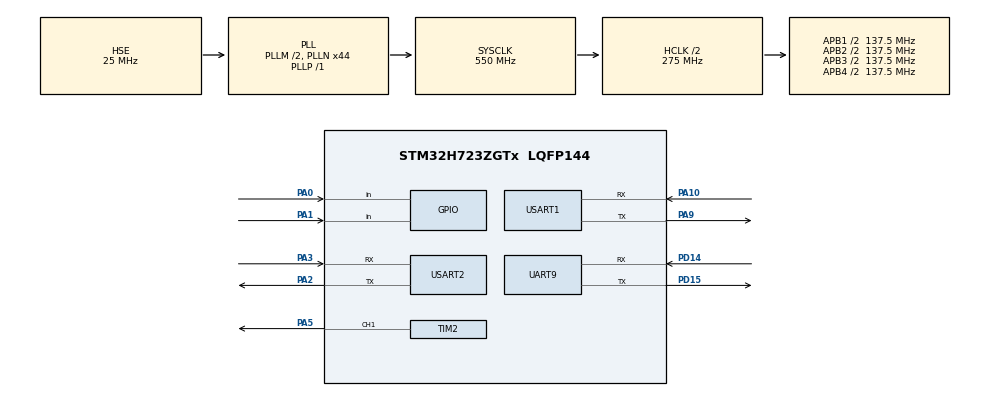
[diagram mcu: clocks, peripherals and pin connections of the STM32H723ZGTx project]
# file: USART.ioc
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CORTEX_M7.default_mode_Activation=1
Mcu.Family=STM32H7
Mcu.Name=STM32H723ZGTx
Mcu.Package=LQFP144
NVIC.PriorityGroup=NVIC_PRIORITYGROUP_4
NVIC.UART9_IRQn=true\:0\:0\:false\:false\:true\:false\:true\:true
NVIC.USART1_IRQn=true\:0\:0\:false\:false\:true\:true\:true\:true
NVIC.USART2_IRQn=true\:0\:0\:false\:false\:true\:true\:true\:true
PA0.GPIO_Mode=GPIO_MODE_INPUT
PA0.GPIO_PuPd=GPIO_PULLUP
PA0.Signal=GPIO_Input
PA1.GPIO_PuPd=GPIO_PULLUP
PA1.Signal=GPIO_Input
PA10.GPIO_Speed=GPIO_SPEED_FREQ_VERY_HIGH
PA10.Mode=Asynchronous
PA10.Signal=USART1_RX
PA2.GPIO_PuPd=GPIO_NOPULL
PA2.GPIO_Speed=GPIO_SPEED_FREQ_VERY_HIGH
PA2.Mode=Asynchronous
PA2.Signal=USART2_TX
PA3.GPIO_PuPd=GPIO_PULLUP
PA3.GPIO_Speed=GPIO_SPEED_FREQ_VERY_HIGH
PA3.Mode=Asynchronous
PA3.Signal=USART2_RX
PA5.Signal=S_TIM2_CH1_ETR
PA9.GPIO_Speed=GPIO_SPEED_FREQ_VERY_HIGH
PA9.Mode=Asynchronous
PA9.Signal=USART1_TX
PD14.GPIO_PuPd=GPIO_PULLUP
PD14.GPIO_Speed=GPIO_SPEED_FREQ_HIGH
PD14.Mode=Asynchronous
PD14.Signal=UART9_RX
PD15.GPIO_PuPd=GPIO_NOPULL
PD15.GPIO_Speed=GPIO_SPEED_FREQ_HIGH
PD15.Mode=Asynchronous
PD15.Signal=UART9_TX
PH0-OSC_IN.Mode=HSE-External-Oscillator
PH0-OSC_IN.Signal=RCC_OSC_IN
PH1-OSC_OUT.Mode=HSE-External-Oscillator
PH1-OSC_OUT.Signal=RCC_OSC_OUT
ProjectManager.HeapSize=0x200
ProjectManager.StackSize=0x400
ProjectManager.TargetToolchain=MDK-ARM V5.32
RCC.ADCFreq_Value=50390625
RCC.APB1Freq_Value=137500000
RCC.APB2Freq_Value=137500000
RCC.APB3Freq_Value=137500000
RCC.APB4Freq_Value=137500000
RCC.CortexFreq_Value=550000000
RCC.D1PPRE=RCC_APB3_DIV2
RCC.D2PPRE1=RCC_APB1_DIV2
RCC.D2PPRE2=RCC_APB2_DIV2
RCC.D3PPRE=RCC_APB4_DIV2
RCC.DIVM1=2
RCC.DIVN1=44
RCC.DIVP1=1
RCC.HCLKFreq_Value=275000000
RCC.HPRE=RCC_HCLK_DIV2
RCC.HSE_VALUE=25000000
RCC.PLL2FRACN=0
RCC.PLL3FRACN=0
RCC.PLLFRACN=0
RCC.PLLSourceVirtual=RCC_PLLSOURCE_HSE
RCC.SYSCLKFreq_VALUE=550000000
RCC.SYSCLKSource=RCC_SYSCLKSOURCE_PLLCLK
RCC.USBFreq_Value=275000000
SH.S_TIM2_CH1_ETR.0=TIM2_CH1,PWM Generation1 CH1
TIM2.AutoReloadPreload=TIM_AUTORELOAD_PRELOAD_ENABLE
TIM2.Channel-PWM\ Generation1\ CH1=TIM_CHANNEL_1
TIM2.Period=1000
TIM2.Prescaler=275
USART1.VirtualMode-Asynchronous=VM_ASYNC
USART2.VirtualMode-Asynchronous=VM_ASYNC
VP_MEMORYMAP_VS_MEMORYMAP.Mode=CurAppReg
VP_TIM2_VS_ClockSourceINT.Mode=Internal
board=custom

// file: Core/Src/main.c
/* USER CODE BEGIN Header */
/**
  ******************************************************************************
  * @file           : main.c
  * @brief          : Main program body
  ******************************************************************************
  * @attention
  *
  * Copyright (c) 2025 STMicroelectronics.
  * All rights reserved.
  *
  * This software is licensed under terms that can be found in the LICENSE file
  * in the root directory of this software component.
  * If no LICENSE file comes with this software, it is provided AS-IS.
  *
  ******************************************************************************
  */
/* USER CODE END Header */
#include "main.h"
#include "memorymap.h"
#include "tim.h"
#include "usart.h"
#include "gpio.h"

/* USER CODE BEGIN Includes */
#include <stdbool.h>
#include <stdio.h>
#include <string.h>
#define PACKET_SIZE 7
uint8_t rxBuffer[PACKET_SIZE];
uint8_t rxIndex = 0;
volatile bool packetReady = 0;
uint8_t targetX_cm = 0;
uint8_t targetY_cm = 0;
float targetX_m = 0.00;
float targetY_m = 0.00;
/* USER CODE END Includes */

/* USER CODE BEGIN PTD */
/*
//方案三
#define STEPS_PER_DEGREE 142.0f  // 每度所需的步数
#define MAX_HORIZONTAL_ANGLE 45.0f  // 最大水平旋转角度(度)
#define MAX_VERTICAL_ANGLE   30.0f  // 最大垂直倾斜角度(度)
#define MIN_VERTICAL_ANGLE  -30.0f  // 最小垂直倾斜角度(度)

// 电机地址定义
#define HORIZONTAL_MOTOR_ADDR 5  // 水平电机(底座)
#define VERTICAL_MOTOR_ADDR   4  // 垂直电机

// 指令队列参数
#define CMD_QUEUE_SIZE 20
#define MAX_PATH_POINTS 150

// 路径点结构
typedef struct {
    float h_angle;  // 水平角度
    float v_angle;  // 垂直角度
    float velocity_multiplier; // 速度乘数 (0.5-1.0)
} AnglePoint;

// 电机指令结构
typedef struct {
    uint8_t cmd[13];    // 指令数据
    uint32_t exec_time; // 执行时间戳
} MotorCommand;

// 系统状态
typedef enum {
    SYS_IDLE,            // 空闲状态
    SYS_MOVING,          // 运动中状态
    SYS_DRAWING,         // 绘图状态
    SYS_PROCESSING       // 处理状态
} SystemState;
AnglePoint path_points[MAX_PATH_POINTS]; // 路径点数组
uint16_t path_count = 0;                 // 当前路径点数
uint16_t current_path_index = 0;         // 当前执行的路径点索引

float current_h_angle = 0.0f;  // 当前水平角度
float current_v_angle = 0.0f;  // 当前垂直角度

MotorCommand cmd_queue[CMD_QUEUE_SIZE]; // 指令队列
uint8_t cmd_queue_head = 0;             // 队列头指针
uint8_t cmd_queue_tail = 0;             // 队列尾指针

SystemState sys_state = SYS_IDLE;
//方案三完结
*/
//设置状�??

/* USER CODE END PTD */

/* USER CODE BEGIN PD */

#define _2PI_ 6.2831853070f
#define MAX_X 0.33f   // X轴最大移动距�?33cm
#define MAX_Y 0.33f   // Y轴最大移动距�?33cm
#define MAX_Z 0.15f   // Z轴最大移动距�?15cm
#define M_PI 3.1415926535f

#define DEG_TO_RAD (M_PI / 180.0f)
#define RAD_TO_DEG (180.0f / M_PI)

#define HORIZONTAL_MOTOR_ADDR 5  // 水平电机(底座)
#define VERTICAL_MOTOR_ADDR   4  // 垂直电机

#define LOW_SPEED    2
#define MEDIUM_SPEED 4
#define HIGH_SPEED   6
#define MAX_POINTS 100
/* USER CODE END PD */

/* USER CODE BEGIN PV */
float currentPosition[3] = {0.0f, 0.0f, 0.0f};

float current_h_angle = 0.0f;  // 水平角度(度)
float current_v_angle = 0.0f;  // 垂直角度(度)

uint32_t steps_h= 0;
uint32_t steps_v= 0;
/*typedef struct {
    float h_angle;  // 水平角度
    float v_angle;  // 垂直角度
} AnglePoint;*/

typedef struct {
    float h_angle;
    float v_angle;
} PathPoint;

PathPoint path_points[MAX_POINTS];
uint16_t path_count = 0;
/* USER CODE END PV */

void SystemClock_Config(void);
static void MPU_Config(void);
/* USER CODE BEGIN PFP */
void Emm_V5_Pos_Control(uint8_t addr, uint8_t dir, uint16_t vel, uint8_t acc, uint32_t clk, bool raF, bool snF);
void Emm_V5_Synchronous_motion(uint8_t addr);
void Stop_Motor(uint8_t addr);
void motors12_forward(uint16_t vel, float distance);
void motors12_backward(uint16_t vel, float distance);
void motor4_down(uint16_t vel, float distance);
void motor3_forward(uint16_t vel, float distance);
void motor3_backward(uint16_t vel, float distance);
void motor4_forward(uint16_t vel, float distance);
uint16_t x_handle(float x);
void Estimate_motors1234();
void UpdatePosition(float x, float y, float z);
void HomePosition(uint16_t vel_x,uint16_t vel_y,uint16_t vel_z);
void MoveToPoint(float x_m, float y_m, float z_m, uint16_t vel_x, uint16_t vel_y,uint16_t vel_z);
void CheckLimitSwitches(void);
void MoveTo(float x_m, float y_m,float z_m, uint16_t vel_x, uint16_t vel_y, uint16_t vel_z);
void HAL_UART_RxCpltCallback(UART_HandleTypeDef *huart);
uint16_t angle_handle(float angle);
void right(uint16_t vel,float angle);
void left(uint16_t vel,float angle);
void up(uint16_t vel,float angle);
void down(uint16_t vel,float angle);
//void draw_square(uint16_t vel);
//void draw_triangle(uint16_t vel);
void draw_syn(uint16_t vel);
void move_to_angle(uint16_t vel, float target_h, float target_v);
void draw_square(uint16_t vel, float size);
void draw_triangle(uint16_t vel, float size);
void draw_circle(uint16_t vel, float radius, int segments);

void move_to_angle1(float h_angle, float v_angle, uint16_t vel);

void draw_line_in_angle(float h0, float v0, float h1, float v1, uint16_t vel, uint16_t segments);
void draw_square_in_angle(float size_h, float size_v, uint16_t vel);
void draw_triangle_in_angle(float size_h, float size_v, uint16_t vel);
void draw_circle_in_angle(float radius_h, float radius_v, uint16_t segments, uint16_t vel);
void clear_path(void);
void execute_path(uint16_t vel);

//方案三
// 运动控制函数
void move_to_angle_absolute(float h_target, float v_target, uint16_t vel);
void draw_line_absolute(float h0, float v0, float h1, float v1, uint16_t vel, uint16_t segments) ;
void clear_path1(void) ;
void execute_path1(uint16_t vel) ;
void draw_square_absolute(float center_h, float center_v, float size, uint16_t vel) ;
void draw_triangle_absolute(float center_h, float center_v, float size, uint16_t vel);

void draw_circle_absolute(float center_h, float center_v, float radius, uint16_t segments, uint16_t vel);

// 归零函数（执行一次确保绝对坐标基准）
void homing_sequence(uint16_t vel) ;

/* USER CODE END PFP */

/* USER CODE BEGIN 0 */
//方案三
/*#define CLAMP_ANGLE(angle, min, max) \
    do { \
        if (angle < min) angle = min; \
        else if (angle > max) angle = max; \
    } while(0)
*/

//方案三

int __io_putchar(int ch){
	HAL_UART_Transmit(&huart1, (uint8_t *)&ch, 1, 100);
	return ch;
}

/* USER CODE END 0 */

int main(void)
{

  /* MPU Configuration--------------------------------------------------------*/
  MPU_Config();

  /* MCU Configuration--------------------------------------------------------*/

  /* Reset of all peripherals, Initializes the Flash interface and the Systick. */
  HAL_Init();

  /* Configure the system clock */
  SystemClock_Config();

  /* Initialize all configured peripherals */
  MX_GPIO_Init();
  MX_UART9_Init();
  MX_USART2_UART_Init();
  MX_USART1_UART_Init();
  MX_TIM2_Init();
  /* USER CODE BEGIN 2 */
  HAL_TIM_PWM_Start(&htim2,TIM_CHANNEL_1);

  HAL_UART_Receive_IT(&huart2, &rxBuffer[0], 1);
  /* USER CODE END 2 */

  /* Infinite loop */
  /* USER CODE BEGIN WHILE */
  while (1)
  {
       //homing_sequence(400) ;
	  //draw_triangle(4);

	  //draw_square_in_angle(4.0f, 4.0f, 2);
	  draw_triangle_in_angle(4.0f, 4.0f, 1);
	  //draw_circle_in_angle(4.0f, 4.0f, 150, 2);

	  //draw_square_absolute(0.0f,0.0f,2.0f,1);
	  while(1){}
	//HAL_Delay(500);
	//Emm_V5_Pos_Control(2, 0, 50, 10, 32000, 0, 1);
	//HAL_Delay(500);
	  //Emm_V5_Synchronous_motion(0);
	 //Emm_V5_Pos_Control(3, 0, 3, 1, 32000, 0, 0);
	  //HAL_Delay(500);
	 // motor3_backward(100, 0.5);
	 //motor4_forward(4, 0.03);
	   //HAL_UART_Transmit_IT(&huart1,(uint8_t*)message,strlen(message));

	 /*(packetReady){
	 MoveToPoint(targetX_m, targetY_m, 0, 800, 800, 0);
		packetReady = 0;
	  HAL_Delay(1000);

  }*/
	  //right(2,90);
	  //motor4_down(5, 0.02);
	// MoveToPoint( 0.03, 0.03, 0.00, 1000, 1000, 3);
	//   MoveToPoint( 0.02, 0.01, 0.00, 1000, 1000, 3);
	//MoveTo( 0.07, 0.07, 0.00, 3, 3, 3);
	 //while(1){Estimate_motors1234();
		 //HAL_Delay(100);
	 //}

	 // MoveToPoint(0.03, 0.03, 3, 3);
    /* USER CODE END WHILE */

  }
}

void SystemClock_Config(void)
{
  RCC_OscInitTypeDef RCC_OscInitStruct = {0};
  RCC_ClkInitTypeDef RCC_ClkInitStruct = {0};

  /** Supply configuration update enable
  */
  HAL_PWREx_ConfigSupply(PWR_LDO_SUPPLY);

  /** Configure the main internal regulator output voltage
  */
  __HAL_PWR_VOLTAGESCALING_CONFIG(PWR_REGULATOR_VOLTAGE_SCALE0);

  while(!__HAL_PWR_GET_FLAG(PWR_FLAG_VOSRDY)) {}

  /** Initializes the RCC Oscillators according to the specified parameters
  * in the RCC_OscInitTypeDef structure.
  */
  RCC_OscInitStruct.OscillatorType = RCC_OSCILLATORTYPE_HSE;
  RCC_OscInitStruct.HSEState = RCC_HSE_ON;
  RCC_OscInitStruct.PLL.PLLState = RCC_PLL_ON;
  RCC_OscInitStruct.PLL.PLLSource = RCC_PLLSOURCE_HSE;
  RCC_OscInitStruct.PLL.PLLM = 2;
  RCC_OscInitStruct.PLL.PLLN = 44;
  RCC_OscInitStruct.PLL.PLLP = 1;
  RCC_OscInitStruct.PLL.PLLQ = 2;
  RCC_OscInitStruct.PLL.PLLR = 2;
  RCC_OscInitStruct.PLL.PLLRGE = RCC_PLL1VCIRANGE_3;
  RCC_OscInitStruct.PLL.PLLVCOSEL = RCC_PLL1VCOWIDE;
  RCC_OscInitStruct.PLL.PLLFRACN = 0;
  if (HAL_RCC_OscConfig(&RCC_OscInitStruct) != HAL_OK)
  {
    Error_Handler();
  }

  /** Initializes the CPU, AHB and APB buses clocks
  */
  RCC_ClkInitStruct.ClockType = RCC_CLOCKTYPE_HCLK|RCC_CLOCKTYPE_SYSCLK
                              |RCC_CLOCKTYPE_PCLK1|RCC_CLOCKTYPE_PCLK2
                              |RCC_CLOCKTYPE_D3PCLK1|RCC_CLOCKTYPE_D1PCLK1;
  RCC_ClkInitStruct.SYSCLKSource = RCC_SYSCLKSOURCE_PLLCLK;
  RCC_ClkInitStruct.SYSCLKDivider = RCC_SYSCLK_DIV1;
  RCC_ClkInitStruct.AHBCLKDivider = RCC_HCLK_DIV2;
  RCC_ClkInitStruct.APB3CLKDivider = RCC_APB3_DIV2;
  RCC_ClkInitStruct.APB1CLKDivider = RCC_APB1_DIV2;
  RCC_ClkInitStruct.APB2CLKDivider = RCC_APB2_DIV2;
  RCC_ClkInitStruct.APB4CLKDivider = RCC_APB4_DIV2;

  if (HAL_RCC_ClockConfig(&RCC_ClkInitStruct, FLASH_LATENCY_3) != HAL_OK)
  {
    Error_Handler();
  }
}

/* USER CODE BEGIN 4 */
void HAL_UART_RxCpltCallback(UART_HandleTypeDef *huart)
{
    if(huart->Instance == USART2)
    {
        //uint8_t byte;
		uint8_t byte = rxBuffer[rxIndex];

        if(rxIndex == 0){
			if(byte != 0xAA){
				rxIndex = 0;
                HAL_UART_Receive_IT(huart, &rxBuffer[rxIndex], 1);
                return;
			}
		}

        rxIndex++;
        // 判断是否收到完整数据�?
        if(rxIndex >= PACKET_SIZE)
        {
            if(rxBuffer[6] == 0x55 && rxBuffer[5] == 0x01)
            {

				//char message[] = "received";
				//HAL_UART_Transmit_IT(&huart1,(uint8_t*)message,strlen(message));
                targetX_cm = (rxBuffer[1] << 8) | rxBuffer[2];
                targetY_cm = (rxBuffer[3] << 8) | rxBuffer[4];
				targetX_m = targetX_cm*(0.01);
				targetY_m = targetY_cm*(0.01);
				HAL_UART_Transmit_IT(&huart1,&targetX_cm,1);
				HAL_UART_Transmit_IT(&huart1,&targetY_cm,1);

                packetReady = 1;
            }
            rxIndex = 0;
        }

        HAL_UART_Receive_IT(huart, &rxBuffer[rxIndex], 1);
    }
}
void HAL_UART_TxCpltCallback(UART_HandleTypeDef *huart){
	if(huart->Instance == USART1){}
}
 void Emm_V5_Pos_Control(uint8_t addr, uint8_t dir, uint16_t vel, uint8_t acc, uint32_t clk, bool raF, bool snF)
{
  uint8_t cmd[13] = {0};

  cmd[0]  =  addr;
  cmd[1]  =  0xFD;
  cmd[2]  =  dir;
  cmd[3]  =  (uint8_t)(vel >> 8);
  cmd[4]  =  (uint8_t)(vel >> 0);
  cmd[5]  =  acc;
  cmd[6]  =  (uint8_t)(clk >> 24);
  cmd[7]  =  (uint8_t)(clk >> 16);
  cmd[8]  =  (uint8_t)(clk >> 8);
  cmd[9]  =  (uint8_t)(clk >> 0);
  cmd[10] =  raF;
  cmd[11] =  snF;
  cmd[12] =  0x6B;

  HAL_UART_Transmit(&huart2,cmd,13,100);
}

void Emm_V5_Synchronous_motion(uint8_t addr)
{
  uint8_t cmd[16] = {0};

  cmd[0] =  addr;
  cmd[1] =  0xFF;
  cmd[2] =  0x66;
  cmd[3] =  0x6B;

  HAL_UART_Transmit(&huart2,cmd,4,1000);
}
void Stop_Motor(uint8_t addr)
{
	Emm_V5_Pos_Control(addr, 0, 0, 0, 0, 0, 0);
}
uint16_t x_handle(float x){
    uint16_t location=0;
    location=3200*((x*100.0f/(_2PI_ * 0.25f )));
    return location;
}

uint16_t angle_handle(float angle){
    uint16_t location=0;
    location=(angle*142);
    return location;
}

void motors1_forward(uint16_t vel, float distance)
{
  HAL_Delay(50);
  uint32_t steps = x_handle(distance);

  Emm_V5_Pos_Control(1, 1, vel, 5, steps, 0, 0);
  HAL_Delay(50);

  // 发鿁同步命仿
  Emm_V5_Synchronous_motion(0);

  HAL_Delay(200);
}

void motors2_forward(uint16_t vel, float distance)
{
  HAL_Delay(50);
  uint32_t steps = x_handle(distance);

  Emm_V5_Pos_Control(2, 0, vel, 5, steps, 0, 0);
  HAL_Delay(50);
  // 发鿁同步命仿
  Emm_V5_Synchronous_motion(0);

  HAL_Delay(200);
}
void motors12_forward(uint16_t vel, float distance)
{
  HAL_Delay(200);
  uint32_t steps = x_handle(distance);

  Emm_V5_Pos_Control(1, 1, vel, 5, steps, 0, 1);
  HAL_Delay(50);

  Emm_V5_Pos_Control(2, 0, vel, 5, steps, 0, 1);
  HAL_Delay(50);
  // 发鿁同步命仿
  Emm_V5_Synchronous_motion(0);

  HAL_Delay(200);
}

void motors12_backward(uint16_t vel, float distance){
  HAL_Delay(200);
  //if(distance>0.24){distance=0.24;}
  uint32_t steps = x_handle(distance);

  Emm_V5_Pos_Control(1, 0, vel, 5, steps, 0, 1);
  HAL_Delay(50);

  Emm_V5_Pos_Control(2, 1, vel, 5, steps, 0, 1);
  HAL_Delay(20);
  // 发鿁同步命仿
  Emm_V5_Synchronous_motion(0);

  HAL_Delay(200);
}

void motor3_backward(uint16_t vel, float distance){
	HAL_Delay(200);
	//if(distance>0.21){distance=0.21;}

	uint32_t steps = x_handle(distance);
	Emm_V5_Pos_Control(3, 1, vel, 5, steps, 0, 0);
	HAL_Delay(20);
}
void motor3_forward(uint16_t vel, float distance){
	HAL_Delay(200);
	uint32_t steps = x_handle(distance);
	Emm_V5_Pos_Control(3, 0, vel, 5, steps, 0, 0);
	HAL_Delay(20);
}

void motor4_down(uint16_t vel, float distance){//�?�?
	HAL_Delay(200);
	//if(distance>0.15){distance=0.15;}

	uint32_t steps = x_handle(distance);
	Emm_V5_Pos_Control(4, 1, vel, 5, steps, 0, 0);
	HAL_Delay(20);
}
void motor4_up(uint16_t vel, float distance){
	HAL_Delay(200);
	uint32_t
	steps = x_handle(distance);
	Emm_V5_Pos_Control(4, 0, vel, 5, steps, 0, 0);
	HAL_Delay(20);
}
/*void draw_square(uint16_t vel){
	right(vel,10);
	HAL_Delay(1000);
	up(vel,15);
	HAL_Delay(1000);
	left(vel,18);
	HAL_Delay(1000);
	down(vel,15);
	HAL_Delay(1000);
	right(vel,10);
}
void draw_triangle(uint16_t vel){
	right(vel,5);
    HAL_Delay(1000);
	Emm_V5_Pos_Control(5,0,vel,4,710,0,1);//5向左
	HAL_Delay(10);
	Emm_V5_Pos_Control(4,1,vel,4,710,0,1);//4向上
	 HAL_Delay(5);
  // 发鿁同步命仿
    Emm_V5_Synchronous_motion(0);
	HAL_Delay(1000);
	Emm_V5_Pos_Control(5,0,vel,4,710,0,1);
	HAL_Delay(10);
	Emm_V5_Pos_Control(4,0,vel,4,710,0,1);//4向下
	HAL_Delay(5);
  // 发鿁同步命仿
    Emm_V5_Synchronous_motion(0);

	HAL_Delay(1000);

	right(vel,5);
}*/
void draw_syn(uint16_t vel){
	Emm_V5_Pos_Control(5,0,vel,4,1420,0,1);//5向左
	HAL_Delay(10);
	Emm_V5_Pos_Control(4,1,vel,4,1420,0,1);//4向上
	HAL_Delay(20);
  // 发鿁同步命仿
    Emm_V5_Synchronous_motion(0);
}
void right(uint16_t vel,float angle){//前进打包函数
  HAL_Delay(50);
  uint16_t rel_location=angle_handle(angle);
  Emm_V5_Pos_Control(5,1,vel,4,rel_location,0,0);
  HAL_Delay(20);
}
void left(uint16_t vel,float angle){
  HAL_Delay(50);
  uint16_t rel_location=angle_handle(angle);
  Emm_V5_Pos_Control(5,0,vel,4,rel_location,0,0);
  HAL_Delay(20);
}

void up(uint16_t vel,float angle){//前进打包函数
  HAL_Delay(50);
  uint16_t rel_location=angle_handle(angle);
  Emm_V5_Pos_Control(4,1,vel,4,rel_location,0,0);
  HAL_Delay(20);
}
void down(uint16_t vel,float angle){
  HAL_Delay(50);
  uint16_t rel_location=angle_handle(angle);
  Emm_V5_Pos_Control(4,0,vel,4,rel_location,0,0);
  HAL_Delay(20);
}
//
/*void move_to_angle(uint16_t vel, float target_h, float target_v) {

    // 2. 计算角度差
    float delta_h = target_h - current_h_angle;
    float delta_v = target_v - current_v_angle;

    // 3. 使用 angle_handle 转换为步数
    uint16_t steps_h = angle_handle(fabsf(delta_h));
    uint16_t steps_v = angle_handle(fabsf(delta_v));

    // 4. 确定方向
    uint8_t dir_h = (delta_h >= 0) ? 1 : 0; // 1=右, 0=左
    uint8_t dir_v = (delta_v >= 0) ? 1 : 0; // 1=上, 0=下

	if(steps_h>0 && steps_v == 0){
		Emm_V5_Pos_Control(5, dir_h, vel, 4, steps_h, 0, 0);
		HAL_Delay(1000);
	}
	if(steps_h == 0 && steps_v > 0){
		Emm_V5_Pos_Control(4, dir_v, vel, 4, steps_v, 0, 0);
		HAL_Delay(1000);
	}

	if(steps_h > 0 && steps_v > 0){
		Emm_V5_Pos_Control(5, dir_h, vel, 1, steps_h, 0, 1);
		HAL_Delay(10);
		Emm_V5_Pos_Control(4, dir_v, vel, 1, steps_v, 0, 1);
		HAL_Delay(10);
		Emm_V5_Synchronous_motion(0);

        HAL_Delay(2000);
	}

    // 7. 更新当前位置
    current_h_angle = target_h;
    current_v_angle = target_v;
}*/

//方案2

void move_to_angle1(float h_angle, float v_angle, uint16_t vel)
{
	float delta_h = h_angle - current_h_angle;
    float delta_v = v_angle - current_v_angle;

    steps_h = (fabsf(delta_h) * 142.86f);
    steps_v = (fabsf(delta_v) * 142.86f);

	uint8_t dir_h = (delta_h >= 0) ? 1 : 0; // 1=正方向, 0=负方向
    uint8_t dir_v = (delta_v >= 0) ? 1 : 0; // 1=向上, 0=向下

	 // 如果两个轴都需要运动，发送同步指令
    if (steps_h > 0 && steps_v > 0) {
        Emm_V5_Pos_Control(HORIZONTAL_MOTOR_ADDR, dir_h, vel, 1, steps_h, 1, 1);
		HAL_Delay(5);
        Emm_V5_Pos_Control(VERTICAL_MOTOR_ADDR, dir_v, vel, 1, steps_v, 1, 1);
	    HAL_Delay(5);
        Emm_V5_Synchronous_motion(0);
    }
    // 只有水平轴运动
    else if (steps_h > 0) {
        Emm_V5_Pos_Control(HORIZONTAL_MOTOR_ADDR, dir_h, vel, 1, steps_h, 1, false);
    }
    // 只有垂直轴运动
    else if (steps_v > 0) {
        Emm_V5_Pos_Control(VERTICAL_MOTOR_ADDR, dir_v, vel, 1, steps_v, 1, false);
    }

	current_h_angle = h_angle;
    current_v_angle = v_angle;

       HAL_Delay(1000);

}

void draw_line_in_angle(float h0, float v0, float h1, float v1, uint16_t vel, uint16_t segments)
{

        path_points[path_count].h_angle = h0;
        path_points[path_count].v_angle = v0;
        path_count++;

    // 线性插值
    for (uint16_t i = 1; i <= segments; i++) {
        float ratio = (float)i / (float)segments;
        float h = h0 + ratio * (h1 - h0);
        float v = v0 + ratio * (v1 - v0);

            path_points[path_count].h_angle = h;

            path_points[path_count].v_angle = v;
            path_count++;

    }
}

void clear_path(void)
{
    path_count = 0;
}

void execute_path(uint16_t vel)
{
    for (uint16_t i = 0; i < path_count; i++) {

        move_to_angle1(path_points[i].h_angle, path_points[i].v_angle, vel);

	}
}

void draw_square_in_angle(float size_h, float size_v, uint16_t vel)
{
    // 计算半尺寸
    float half_h = size_h / 2.0f;
    float half_v = size_v / 2.0f;

    // 清空路径
    clear_path();

    // 创建正方形路径 (顺时针)
    draw_line_in_angle( 0.0f, 0.0f, size_h, 0.0f, vel, 1);  // 上边
    draw_line_in_angle( size_h,  0.0f, size_h, size_v, vel, 1);  // 左边
    draw_line_in_angle( size_h, size_v,  0.0f, size_v, vel, 1);  // 下边
    draw_line_in_angle( 0.0f, size_v, 0.0f,  0.0f, vel, 1);  // 右边

    // 执行路径
    execute_path(vel);
}

void draw_triangle_in_angle(float size_h, float size_v, uint16_t vel)
{

	float left_h = -size_h / 2.0f;
	float right_h = size_h / 2.0f;
	float up_v = size_v / 2.0f;
	float down_v = size_v /2.0f;

    // 清空路径
    clear_path();

    // 创建三角形路径
    draw_line_in_angle(0.0f, 0.0f, size_h, 0.0f, vel, 10);      // 左上边
    draw_line_in_angle(size_h, 0.0f,right_h, size_v, vel, 35);  // 左底边
    draw_line_in_angle(right_h, size_v,0.0f , 0.0f, vel, 35);    // 右上边

    // 执行路径
    execute_path(vel);
}

void draw_circle_in_angle(float radius_h, float radius_v, uint16_t segments, uint16_t vel)
{

    // 清空路径
    clear_path();

    // 创建椭圆路径
    for (uint16_t i = 0; i <= segments; i++) {
        float angle = 2.0f * M_PI * i / segments;
        float h = radius_h * cosf(angle);
        float v = radius_v * sinf(angle);

        // 添加点到路径

            path_points[path_count].h_angle = h;
            path_points[path_count].v_angle = v;
            path_count++;

    }

    // 执行路径
    execute_path(vel);
}

//方案2

/*
//方案三

void move_to_angle_absolute(float h_target, float v_target, uint16_t vel) {
    // 计算目标位置对应的步数
    uint32_t target_h_steps = (uint32_t)(h_target * 142.85f);
    uint32_t target_v_steps = (uint32_t)(v_target * 142.85f);

    uint8_t dir_h = (h_target >= current_h_angle) ? 1 : 0;
    uint8_t dir_v = (v_target >= current_v_angle) ? 1 : 0;

    // 双轴运动（使用绝对位置模式，mode=0）
    if (fabsf(h_target - current_h_angle) > 0.01f &&
        fabsf(v_target - current_v_angle) > 0.01f) {

        Emm_V5_Pos_Control(HORIZONTAL_MOTOR_ADDR, dir_h, vel, 0, target_h_steps, 1, 1);
        HAL_Delay(5);
        Emm_V5_Pos_Control(VERTICAL_MOTOR_ADDR, dir_v, vel, 0, target_v_steps, 1, 1);
        HAL_Delay(5);
        Emm_V5_Synchronous_motion(1);  // 启用同步运动
    }
    // 仅水平轴运动
    if (fabsf(h_target - current_h_angle) > 0.01f && fabsf(v_target - current_v_angle) ==0.0f) {
        Emm_V5_Pos_Control(HORIZONTAL_MOTOR_ADDR, dir_h, vel, 0, target_h_steps, 1, 0);
    }
    // 仅垂直轴运动
    if (fabsf(v_target - current_v_angle) > 0.01f && fabsf(v_target - current_v_angle) ==0.0f) {
        Emm_V5_Pos_Control(VERTICAL_MOTOR_ADDR, dir_v, vel, 0, target_v_steps, 1, 0);
    }

    // 更新当前位置
    current_h_angle = h_target;
    current_v_angle = v_target;

    HAL_Delay(100);  // 运动稳定时间
}

// 路径插值（绝对坐标）
void draw_line_absolute(float h0, float v0, float h1, float v1, uint16_t vel, uint16_t segments) {
    path_points[path_count].h_angle = h0;
    path_points[path_count].v_angle = v0;
    path_count++;

    for (uint16_t i = 1; i <= segments; i++) {
        float ratio = (float)i / (float)segments;
        float h = h0 + ratio * (h1 - h0);
        float v = v0 + ratio * (v1 - v0);

            path_points[path_count].h_angle = h;
            path_points[path_count].v_angle = v;
            path_count++;

    }
}

void clear_path1(void) {
    path_count = 0;
}

void execute_path1(uint16_t vel) {
    for (uint16_t i = 0; i < path_count; i++) {
        move_to_angle_absolute(
            path_points[i].h_angle,
            path_points[i].v_angle,
            vel
        );
    }
}

void draw_square_absolute(float center_h, float center_v, float size, uint16_t vel) {
    float half_size = size / 2.0f;

    clear_path1();

    // 定义正方形的四个角（绝对坐标）
    float points[5][2] = {
        {center_h - half_size, center_v - half_size}, // 左下
        {center_h + half_size, center_v - half_size}, // 右下
        {center_h + half_size, center_v + half_size}, // 右上
        {center_h - half_size, center_v + half_size}, // 左上
        {center_h - half_size, center_v - half_size}  // 闭合
    };

    // 创建路径
    for (uint8_t i = 0; i < 4; i++) {
        draw_line_absolute(
            points[i][0], points[i][1],
            points[i+1][0], points[i+1][1],
            vel, 40
        );
    }

    execute_path1(vel);
}

void draw_triangle_absolute(float center_h, float center_v, float size, uint16_t vel) {
    float height = size * 0.866f;  // 等边三角形高度

    clear_path1();

    // 定义三角形的三个顶点（绝对坐标）
    float points[4][2] = {
        {center_h, center_v + height/2},       // 上顶点
        {center_h - size/2, center_v - height/2}, // 左下
        {center_h + size/2, center_v - height/2}, // 右下
        {center_h, center_v + height/2}        // 闭合
    };

    // 创建路径
    for (uint8_t i = 0; i < 3; i++) {
        draw_line_absolute(
            points[i][0], points[i][1],
            points[i+1][0], points[i+1][1],
            vel, 20
        );
    }

    execute_path1(vel);
}

void draw_circle_absolute(float center_h, float center_v, float radius, uint16_t segments, uint16_t vel) {
    if (segments < 16) segments = 16;
    if (segments > 120) segments = 120;

    clear_path1();

    // 生成圆形路径（绝对坐标）
    for (uint16_t i = 0; i <= segments; i++) {
        float angle = 2.0f * M_PI * i / segments;
        float h = center_h + radius * cosf(angle);
        float v = center_v + radius * sinf(angle);

        if (path_count < MAX_POINTS) {
            path_points[path_count].h_angle = h;
            path_points[path_count].v_angle = v;
            path_count++;
        }
    }

    // 闭合圆形
    if (path_count < MAX_POINTS) {
        path_points[path_count].h_angle = path_points[0].h_angle;
        path_points[path_count].v_angle = path_points[0].v_angle;
        path_count++;
    }

    execute_path1(vel);
}

// 归零函数（执行一次确保绝对坐标基准）
void homing_sequence(uint16_t vel) {

    Emm_V5_Pos_Control(HORIZONTAL_MOTOR_ADDR, 0, vel, 1, 0, 0, 0); // 向左移动直到限位

    current_h_angle = 0.0f;

    Emm_V5_Pos_Control(VERTICAL_MOTOR_ADDR, 0, vel, 1, 0, 0, 0); // 向下移动直到限位

    current_v_angle = 0.0f;
}*/
//方案三
/*
// 绘制指定大小的正方形
void draw_square(uint16_t vel, float size) {

    // 以当前位置为中心
    float center_h = current_h_angle;
    float center_v = current_v_angle;

    // 定义四个顶点（相对中心）
    float points[][2] = {
        {center_h + size/2, center_v + size/2}, // 右上
        {center_h - size/2, center_v + size/2}, // 左上
        {center_h - size/2, center_v - size/2}, // 左下
        {center_h + size/2, center_v - size/2}, // 右下
        {center_h + size/2, center_v + size/2}  // 闭合
    };

    // 移动到每个点
    for (int i = 0; i < 5; i++) {
        move_to_angle(vel, points[i][0], points[i][1]);
        HAL_Delay(50); // 点间停顿
    }

  }

// 绘制指定大小的正三角形
void draw_triangle(uint16_t vel, float size) {

    float center_h = current_h_angle;
    float center_v = current_v_angle;

    // 等边三角形顶点计算
    float height = size * 0.866f; // √3/2 ≈ 0.866

    float points[][2] = {
        {center_h, center_v + height/2},         // 上顶点
        {center_h - size/2, center_v - height/2}, // 左下
        {center_h + size/2, center_v - height/2}, // 右下
        {center_h, center_v + height/2}          // 闭合
    };

    for (int i = 0; i < 4; i++) {
        move_to_angle(vel, points[i][0], points[i][1]);
        HAL_Delay(50); // 点间停顿
    }
  }

// 绘制指定半径的圆形
void draw_circle(uint16_t vel, float radius, int segments) {

    // 分段数限制
    if (segments < 8) segments = 8;
    if (segments > 72) segments = 72;

    float center_h = current_h_angle;
    float center_v = current_v_angle;

    // 计算并移动到每个点
    for (int i = 0; i <= segments; i++) {
        float angle = 2.0f *_2PI_ * i / segments;
        float target_h = center_h + radius * cosf(angle);
        float target_v = center_v + radius * sinf(angle);

        move_to_angle(vel, target_h, target_v);
    }
}

void draw_square_smooth(uint16_t vel, float size) {
    float center_h = current_h_angle;
    float center_v = current_v_angle;

    // 定义四个顶点（相对中心）
    float points[][2] = {
        {center_h + size/2, center_v + size/2}, // 右上
        {center_h - size/2, center_v + size/2}, // 左上
        {center_h - size/2, center_v - size/2}, // 左下
        {center_h + size/2, center_v - size/2}, // 右下
        {center_h + size/2, center_v + size/2}  // 闭合
    };

    // 移动到每个点
    for (int i = 0; i < 5; i++) {
        move_to_angle(vel, points[i][0], points[i][1]);
        HAL_Delay(50); // 点间停顿
    }

}

// 绘制三角形 - size: 边长（角度单位）
void draw_triangle_smooth(uint16_t vel, float size) {
    float center_h = current_h_angle;
    float center_v = current_v_angle;

    // 等边三角形顶点计算
    float height = size * 0.866f; // √3/2 ≈ 0.866

    float points[][2] = {
        {center_h, center_v + height/2},      // 上顶点
        {center_h - size/2, center_v - height/2}, // 左下
        {center_h + size/2, center_v - height/2}, // 右下
        {center_h, center_v + height/2}       // 闭合
    };

    for (int i = 0; i < 4; i++) {
        move_to_angle(vel, points[i][0], points[i][1]);
        HAL_Delay(50);
    }

}

// 绘制圆形 - radius: 半径（角度单位），segments: 分段数
void draw_circle_smooth(uint16_t vel, float radius, int segments) {
    float center_h = current_h_angle;
    float center_v = current_v_angle;

    // 计算并移动到每个点
    for (int i = 0; i <= segments; i++) {
        float angle = 2.0f * M_PI * i / segments;
        float target_h = center_h + radius * cosf(angle);
        float target_v = center_v + radius * sinf(angle);

        move_to_angle(vel, target_h, target_v);
    }

}*/
/*static bool limitPA0Triggered = false;
static bool limitPA1Triggered = false;
static bool limitPA2Triggered = false;

void Estimate_motors1234(){

	if(HAL_GPIO_ReadPin(GPIOA,GPIO_PIN_0) == GPIO_PIN_RESET){
		if (!limitPA0Triggered) {
            Stop_Motor(1);
			HAL_Delay(300);
			Stop_Motor(2);
			//更新位置承在坐栿
			currentPosition[0] = 0.0f;
			//motor1_state.is_moving = false;
			//motor2_state.is_moving = false;

            limitPA0Triggered = true;
        }
		else{limitPA0Triggered = false;}
	}

	if(HAL_GPIO_ReadPin(GPIOA,GPIO_PIN_1) == GPIO_PIN_RESET){
		if (!limitPA1Triggered) {
            Stop_Motor(3);

			currentPosition[1] = 0.0f;
            limitPA1Triggered = true;

			//motor3_state.is_moving = false;

        }
		else{limitPA1Triggered = false;}
	}
	if(HAL_GPIO_ReadPin(GPIOA,GPIO_PIN_2) == GPIO_PIN_RESET){
		if (!limitPA2Triggered) {
            Stop_Motor(4);
			currentPosition[2] = 0.0f;
            limitPA2Triggered = true;

			//motor1_state.is_moving =false;

        }
		else{limitPA2Triggered = false;}
	}

	//if(CheckMovementComplete()){

	//}

}
*/
// 全局限位触发标志
volatile bool x_limit_triggered = false;
volatile bool y_limit_triggered = false;
volatile bool z_limit_triggered = false;

void CheckLimitSwitches(void)
	{
    // X轴限�? (PA0)
    GPIO_PinState x_state = HAL_GPIO_ReadPin(GPIOA, GPIO_PIN_0);
    if (x_state == GPIO_PIN_RESET) {if (!x_limit_triggered) {x_limit_triggered = true;}}
	else {if (x_limit_triggered) {x_limit_triggered = false;}}

    // Y轴限�? (PA1)
    GPIO_PinState y_state = HAL_GPIO_ReadPin(GPIOA, GPIO_PIN_1);
    if (y_state == GPIO_PIN_RESET) {if (!y_limit_triggered) { y_limit_triggered = true;}}
	else {if (y_limit_triggered) {y_limit_triggered = false;}}

    // Z轴限�? (PA2)
    GPIO_PinState z_state = HAL_GPIO_ReadPin(GPIOA, GPIO_PIN_2);
    if (z_state == GPIO_PIN_RESET) {if (!z_limit_triggered) {z_limit_triggered = true;}}
	else {if (z_limit_triggered) {z_limit_triggered = false;}}
}

//跟新位置
void UpdatePosition(float x, float y, float z)
{
    currentPosition[0] = x;
    currentPosition[1] = y;
    currentPosition[2] = z;

    // 边界约束
    currentPosition[0] = fmaxf(0.0f, fminf(MAX_X, currentPosition[0]));
    currentPosition[1] = fmaxf(0.0f, fminf(MAX_Y, currentPosition[1]));
    currentPosition[2] = fmaxf(0.0f, fminf(MAX_Z, currentPosition[2]));
}
// 返回原点位置
void HomePosition(uint16_t vel_x,uint16_t vel_y,uint16_t vel_z)
{
    // 移动到原�?(0,0)
    MoveToPoint(0.0, 0.0, 0.0, vel_x, vel_y, vel_z);

    // 更新位置
    UpdatePosition(0.0f, 0.0f, 0.0f);
}
// 移动到指定XY坐标位置 (单位:厘米)
void MoveToPoint(float x_m, float y_m,float z_m, uint16_t vel_x, uint16_t vel_y, uint16_t vel_z)
{
	uint32_t tim=0;

	//要运动的距离
	float dx = x_m - currentPosition[0];
	float dy = y_m - currentPosition[1];
	float dz = z_m - currentPosition[2];
	//运动的方�?
	uint8_t x_dir = (dx >= 0) ? 0 : 1; // 0=正向, 1=反向
    uint8_t y_dir = (dy >= 0) ? 0 : 1;
	uint8_t z_dir = (dz >= 0) ? 0 : 1;

	float abs_dx = fabsf(dx);
    float abs_dy = fabsf(dy);
	float abs_dz = fabsf(dz);

    uint16_t x_steps = x_handle(abs_dx);
	uint16_t y_steps = x_handle(abs_dy);
	uint16_t z_steps = x_handle(abs_dz);

	//重置丿下标志�?
	x_limit_triggered = false;
    y_limit_triggered = false;
    z_limit_triggered = false;

	//计算运动时间
	uint32_t x_time = (x_steps > 0) ? (x_steps * 1000) / vel_x : 0;
    uint32_t y_time = (y_steps > 0) ? (y_steps * 1000) / vel_y : 0;
    uint32_t z_time = (z_steps > 0) ? (z_steps * 1000) / vel_z : 0;

	tim = x_time;
    if (y_time > tim) tim = y_time;
    if (z_time > tim) tim = z_time;

	uint32_t start_time = HAL_GetTick();

	if(x_dir == 0){motors12_forward( vel_x,abs_dx);}
	if(x_dir == 1){motors12_backward( vel_x,abs_dx);}

	if(y_dir == 0){motor3_forward( vel_y, abs_dy);}
	if(y_dir == 1){motor3_backward( vel_y, abs_dy);}

	if(z_dir == 0){motor4_up( vel_z, abs_dz);}
	if(z_dir == 1){motor4_down( vel_z, abs_dz);}

	bool x_complete = (x_steps == 0);
    bool y_complete = (y_steps == 0);
    bool z_complete = (z_steps == 0);

    while(1)
	{

            CheckLimitSwitches();

            // 如果X限位触发且X轴还在运动，标记为完�?
            if (x_limit_triggered && !x_complete) {
                Stop_Motor(1);
				HAL_Delay(10);
                Stop_Motor(2);
                currentPosition[0] = 0.33f;  // 更新X位置
                x_complete = true;
            }

            // 如果Y限位触发且Y轴还在运动，标记为完�?
            if (y_limit_triggered && !y_complete) {
                Stop_Motor(3);
                currentPosition[1] = 0.33f;  // 更新Y位置
                y_complete = true;
            }

            // 如果Z限位触发且Z轴还在运动，标记为完�?
            if (z_limit_triggered && !z_complete) {
                Stop_Motor(4);
                currentPosition[2] = 0.0f;  // 更新Z位置
                z_complete = true;
            }

        uint32_t elapsed = HAL_GetTick() - start_time;

		if(elapsed>tim){
            // 更新未触发限位的位置
            if (!x_limit_triggered) currentPosition[0] = x_m;
            if (!y_limit_triggered) currentPosition[1] = y_m;
            if (!z_limit_triggered) currentPosition[2] = z_m;
            break;
		}
	   HAL_Delay(5);
    }

}

/*void MoveTo(float x_m, float y_m,float z_m, uint16_t vel_x, uint16_t vel_y, uint16_t vel_z)
{
	uint16_t tim=0;
	 x_m = fmaxf(0.0f, fminf(MAX_X, x_m));
     y_m = fmaxf(0.0f, fminf(MAX_Y, y_m));
	 z_m = fmaxf(0.0f, fminf(MAX_Z, z_m));

	//要运动的距离
	float dx = x_m - currentPosition[0];
	float dy = y_m - currentPosition[1];
	float dz = z_m - currentPosition[2];
	//运动的方�?
	uint8_t x_dir = (dx >= 0) ? 0 : 1; // 0=正向, 1=反向
    uint8_t y_dir = (dy >= 0) ? 0 : 1;
	uint8_t z_dir = (dz >= 0) ? 0 : 1;

	float abs_dx = fabsf(dx);
    float abs_dy = fabsf(dy);
	float abs_dz = fabsf(dz);

	uint32_t x_steps = x_handle(abs_dx);
    uint32_t y_steps = x_handle(abs_dy);
	uint32_t z_steps = x_handle(abs_dz);
	//计算运动时间
	uint32_t x_time = (x_steps > 0) ? (x_steps * 1000) / vel_x : 0;
    uint32_t y_time = (y_steps > 0) ? (y_steps * 1000) / vel_y : 0;
    uint32_t z_time = (z_steps > 0) ? (z_steps * 1000) / vel_z : 0;

	if(x_dir == 0){motors12_forward( vel_x,abs_dx);}
	if(x_dir == 1){motors12_backward( vel_x,abs_dx);}

	if(y_dir == 0){motor3_forward( vel_y, abs_dy);}
	if(y_dir == 1){motor3_backward( vel_y, abs_dy);}

	if(z_dir == 0){motor4_up( vel_z, abs_dz);}
	if(z_dir == 1){motor4_down( vel_z, abs_dz);}

    if ((x_time >= y_time) && (x_time >= z_time)) {
	    tim = x_time;
	}

    if ((y_time >= x_time) && (y_time >= z_time)){
		tim = y_time;
	}
    if ((z_time >= x_time) && (z_time >= y_time)){
		tim = z_time;
	}
	HAL_Delay(tim);

	//跟新丿下坐栿

}
*/
/* USER CODE END 4 */

 /* MPU Configuration */

void MPU_Config(void)
{
  MPU_Region_InitTypeDef MPU_InitStruct = {0};

  /* Disables the MPU */
  HAL_MPU_Disable();

  /** Initializes and configures the Region and the memory to be protected
  */
  MPU_InitStruct.Enable = MPU_REGION_ENABLE;
  MPU_InitStruct.Number = MPU_REGION_NUMBER0;
  MPU_InitStruct.BaseAddress = 0x0;
  MPU_InitStruct.Size = MPU_REGION_SIZE_4GB;
  MPU_InitStruct.SubRegionDisable = 0x87;
  MPU_InitStruct.TypeExtField = MPU_TEX_LEVEL0;
  MPU_InitStruct.AccessPermission = MPU_REGION_NO_ACCESS;
  MPU_InitStruct.DisableExec = MPU_INSTRUCTION_ACCESS_DISABLE;
  MPU_InitStruct.IsShareable = MPU_ACCESS_SHAREABLE;
  MPU_InitStruct.IsCacheable = MPU_ACCESS_NOT_CACHEABLE;
  MPU_InitStruct.IsBufferable = MPU_ACCESS_NOT_BUFFERABLE;

  HAL_MPU_ConfigRegion(&MPU_InitStruct);
  /* Enables the MPU */
  HAL_MPU_Enable(MPU_PRIVILEGED_DEFAULT);

}

void Error_Handler(void)
{
  __disable_irq();
  while (1)
  {
  }
}
